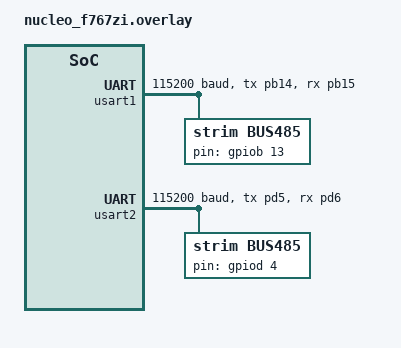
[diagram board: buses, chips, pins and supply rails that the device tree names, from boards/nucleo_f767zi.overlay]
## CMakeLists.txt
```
cmake_minimum_required(VERSION 3.20.0)

set(ZEPHYR_EXTRA_MODULES "${CMAKE_SOURCE_DIR}/../module/bus485")
find_package(Zephyr REQUIRED HINTS $ENV{ZEPHYR_BASE})
project(app)

target_sources(app PRIVATE src/main.c)
```

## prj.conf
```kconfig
CONFIG_UART_INTERRUPT_DRIVEN=y
CONFIG_STRIM_BUS485=y

CONFIG_LOG=y
CONFIG_LOG_DEFAULT_LEVEL=4
```

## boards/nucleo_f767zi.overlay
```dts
&usart1 {
	pinctrl-0 = <&usart1_tx_pb14 &usart1_rx_pb15>;
	pinctrl-names = "default";
	current-speed = <115200>;
	status = "okay";
    b485_1: bus485 {
        compatible = "strim,bus485";
        pin-gpios = <&gpiob 13 GPIO_ACTIVE_HIGH>;
        label="bus485";
        status="okay";
    };
};

&usart2 {
    current-speed = <115200>;
    pinctrl-0 = <&usart2_tx_pd5 &usart2_rx_pd6>;
    pinctrl-names= "default";
    status="okay";
    b485: bus485 {
        compatible = "strim,bus485";
        pin-gpios = <&gpiod 4 GPIO_ACTIVE_HIGH>;
        label="bus485";
        status="okay";
    };
};
```

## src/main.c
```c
#include <stdio.h>
#include <zephyr/kernel.h>


#include <zephyr/logging/log.h>
#include "bus485.h"

LOG_MODULE_REGISTER(app);
//Stack size set
#define TH1_THREAD_STACK_SIZE 512
#define TH2_THREAD_STACK_SIZE 512
#define TH3_THREAD_STACK_SIZE 512

K_THREAD_STACK_DEFINE(th1_stack, TH1_THREAD_STACK_SIZE);
static struct k_thread th1_thread;

K_THREAD_STACK_DEFINE(th2_stack, TH2_THREAD_STACK_SIZE);
static struct k_thread th2_thread;

K_THREAD_STACK_DEFINE(th3_stack, TH3_THREAD_STACK_SIZE);
static struct k_thread th3_thread;

static const struct device * bus = DEVICE_DT_GET(DT_NODELABEL(b485));

static const struct device * bus_1 = DEVICE_DT_GET_OR_NULL(DT_NODELABEL(b485_1));


void th1_thread_start(void *arg_1, void *arg_2, void *arg_3){
	int ret;
	uint8_t buf_req[8] = {0x01, 0x03, 0x00, 0x00, 0x00, 0x0a, 0xc5, 0xcd};
	uint8_t buff_resp[40];

	while(1){
		bus485_lock(bus);
		bus485_set_baudrate(bus, 9600);
		bus485_flush(bus);
		bus485_send(bus, buf_req, 8);
		LOG_DBG("TH1 WAIT ANSWER\r\n");
		ret = bus485_recv(bus, buff_resp, 40, 5000);
		if(ret < 0){
			LOG_DBG("TH1 receive timeout\r\n");
		}
		else{

			LOG_DBG("TH1 pack rcv with %d bytes\r\n", ret);
			if(ret > 0){
				LOG_HEXDUMP_INF(buff_resp, ret, "Rcv buff");   
			}
		}

		bus485_release(bus);

		k_msleep(1000);
	}
}

void th2_thread_start(void *arg_1, void *arg_2, void *arg_3){
	int ret;
	uint8_t buf_req[8] = {0x02, 0x01, 0x00, 0x00, 0x00, 0x0a, 0xbc, 0x3e};
	uint8_t buff_resp[40];

	while(1){
		bus485_lock(bus);
		bus485_set_baudrate(bus, 9600);
		bus485_flush(bus);
		bus485_send(bus, buf_req, 8);
		LOG_DBG("TH2 WAIT ANSWER\r\n");
		ret = bus485_recv(bus, buff_resp, 40, 5000);
		if(ret < 0){
			LOG_DBG("TH2 receive timeout\r\n");
		}
		else{
			LOG_DBG("TH2 pack rcv with %d bytes\r\n", ret);
			if(ret > 0){
				LOG_HEXDUMP_INF(buff_resp, ret, "Rcv buff");   
			}
		}

		bus485_release(bus);

		k_msleep(3000);
	}
}

void th3_thread_start(void *arg_1, void *arg_2, void *arg_3){
	int ret;
	uint8_t buf_req[8] = {0x01, 0x03, 0x00, 0x00, 0x00, 0x0a, 0xc5, 0xcd};
	uint8_t buff_resp[40];

	while(1){
		bus485_lock(bus_1);
		bus485_set_baudrate(bus_1, 9600);
		bus485_flush(bus_1);
		bus485_send(bus_1, buf_req, 8);
		LOG_DBG("TH3 WAIT ANSWER\r\n");
		ret = bus485_recv(bus_1, buff_resp, 40, 5000);
		if(ret < 0){
			LOG_DBG("TH3 receive timeout\r\n");
		}
		else{

			LOG_DBG("TH3 pack rcv with %d bytes\r\n", ret);
			if(ret > 0){
				LOG_HEXDUMP_INF(buff_resp, ret, "Rcv buff");   
			}
		}

		bus485_release(bus_1);

		k_msleep(1000);
	}
}


/* The devicetree node identifier for the "led0" alias. */

/*
 * A build error on this line means your board is unsupported.
 * See the sample documentation for information on how to fix this.
 */



int main(void){
    
	k_tid_t th1_tid;
	k_tid_t th2_tid;
	k_tid_t th3_tid;
    if(!device_is_ready(bus)){
        printk("Error: bus are not ready\r\n");
        return -ENODEV;
    }
    if(bus_1 != NULL){
		if(!device_is_ready(bus_1)){
			printk("Error: bus_1 are not ready\r\n");
			return -ENODEV;
		}
	}
    
    printk("PROJECT start\r\n");

	th1_tid = k_thread_create(&th1_thread,
							  th1_stack,
							  K_THREAD_STACK_SIZEOF(th1_stack),
							  th1_thread_start,
							  NULL,
							  NULL,
							  NULL,
							  7, 
							  0,
							  K_NO_WAIT);

	th2_tid = k_thread_create(&th2_thread,
							  th2_stack,
							  K_THREAD_STACK_SIZEOF(th2_stack),
							  th2_thread_start,
							  NULL,
							  NULL,
							  NULL,
							  7, 
							  0,
							  K_NO_WAIT);
	if(bus_1 != NULL){		
		th3_tid = k_thread_create(&th3_thread,
							  th3_stack,
							  K_THREAD_STACK_SIZEOF(th3_stack),
							  th3_thread_start,
							  NULL,
							  NULL,
							  NULL,
							  7, 
							  0,
							  K_NO_WAIT);
	}
	
	while(1){
		k_msleep(2000);
	}

    return 0;
}
```
